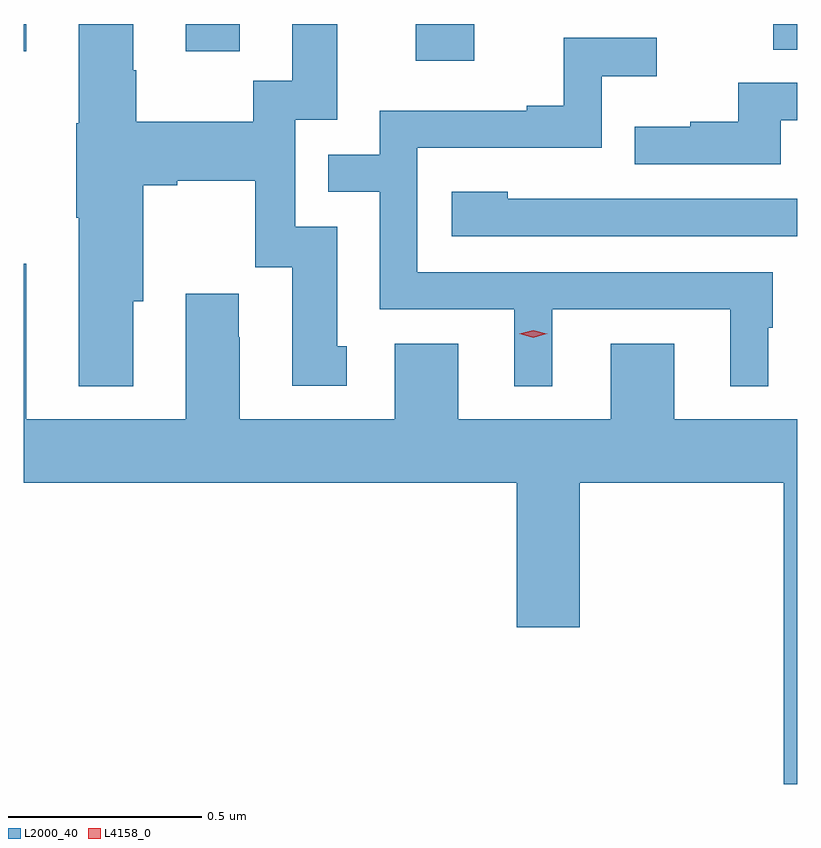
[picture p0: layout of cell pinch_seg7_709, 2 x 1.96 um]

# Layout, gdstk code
import gdstk
lib = gdstk.Library(unit=1e-6, precision=1e-09)
def R(c, l, rs):  # rectangles x0, y0, x1, y1
    for r in rs: c.add(gdstk.rectangle(r[:2], r[2:], *l))
def P(c, l, *ps):  # polygons
    for p in ps: c.add(gdstk.Polygon(p, *l))
L2000_40 = (2000, 40)
L4158_0 = (4158, 0)

pinch_seg7_709 = lib.new_cell('pinch_seg7_709')
R(pinch_seg7_709, L2000_40, [(200.711,1029.678,200.863,1029.773), (199.698,1029.702,199.705,1029.773), (200.117,1029.702,200.257,1029.773), (201.636,1029.706,201.698,1029.773)])
P(pinch_seg7_709, L2000_40, [(199.981,1029.057),(200.007,1029.057),(200.007,1029.356),(200.095,1029.356),(200.095,1029.368),(200.297,1029.368),(200.297,1029.144),(200.393,1029.144),(200.393,1028.838),(200.533,1028.838),(200.533,1028.94),(200.509,1028.94),(200.509,1029.249),(200.4,1029.249),(200.4,1029.525),(200.509,1029.525),(200.509,1029.773),(200.393,1029.773),(200.393,1029.626),(200.292,1029.626),(200.292,1029.52),(199.989,1029.52),(199.989,1029.654),(199.981,1029.654),(199.981,1029.773),(199.841,1029.773),(199.841,1029.516),(199.834,1029.516),(199.834,1029.272),(199.841,1029.272),(199.841,1028.837),(199.981,1028.837)],
  [(201.064,1029.036),(201.524,1029.036),(201.524,1028.837),(201.622,1028.837),(201.622,1028.988),(201.634,1028.988),(201.634,1029.132),(200.715,1029.132),(200.715,1029.453),(201.192,1029.453),(201.192,1029.638),(201.334,1029.638),(201.334,1029.737),(201.094,1029.737),(201.094,1029.562),(200.999,1029.562),(200.999,1029.549),(200.619,1029.549),(200.619,1029.435),(200.485,1029.435),(200.485,1029.339),(200.619,1029.339),(200.619,1029.036),(200.966,1029.036),(200.966,1028.837),(201.064,1028.837)],
  [(201.655,1029.524),(201.698,1029.524),(201.698,1029.621),(201.545,1029.621),(201.545,1029.52),(201.421,1029.52),(201.421,1029.508),(201.277,1029.508),(201.277,1029.411),(201.655,1029.411)],
  [(201.698,1029.321),(201.185,1029.321),(201.185,1029.322),(200.949,1029.322),(200.949,1029.34),(200.805,1029.34),(200.805,1029.225),(201.698,1029.225)],
  [(201.698,1028.752),(201.379,1028.752),(201.379,1028.947),(201.215,1028.947),(201.215,1028.752),(200.821,1028.752),(200.821,1028.947),(200.657,1028.947),(200.657,1028.752),(200.257,1028.752),(200.257,1028.963),(200.254,1028.963),(200.254,1029.076),(200.117,1029.076),(200.117,1028.752),(199.705,1028.752),(199.705,1029.154),(199.698,1029.154),(199.698,1028.588),(200.972,1028.588),(200.972,1028.214),(201.136,1028.214),(201.136,1028.588),(201.662,1028.588),(201.662,1027.809),(201.698,1027.809)])
P(pinch_seg7_709, L4158_0, [(201.015,1028.962),(200.979,1028.972),(200.979,1028.972),(200.979,1028.972),(201.015,1028.982),(201.05,1028.972),(201.051,1028.972),(201.05,1028.972)])

lib.write_gds('pinch_seg7_709.gds')
